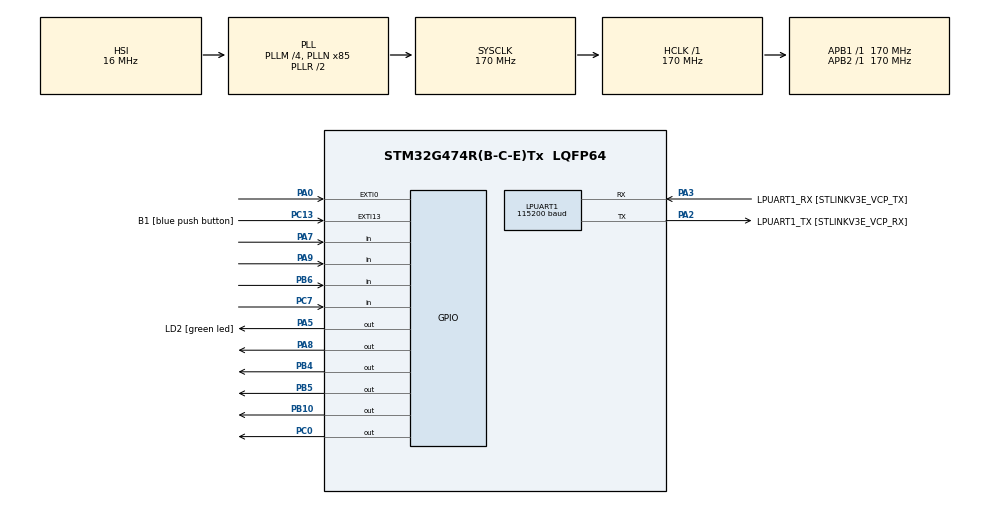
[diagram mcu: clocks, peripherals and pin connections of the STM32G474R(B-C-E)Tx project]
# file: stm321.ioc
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LPUART1.BaudRate=115200
LPUART1.WordLength=UART_WORDLENGTH_8B
Mcu.Family=STM32G4
Mcu.Name=STM32G474R(B-C-E)Tx
Mcu.Package=LQFP64
NVIC.EXTI0_IRQn=true\:0\:0\:false\:false\:true\:true\:true\:true
NVIC.EXTI15_10_IRQn=true\:0\:0\:false\:false\:true\:true\:true\:true
NVIC.PriorityGroup=NVIC_PRIORITYGROUP_4
PA0.GPIO_PuPd=GPIO_NOPULL
PA0.Signal=GPXTI0
PA13.GPIO_Label=T_SWDIO
PA13.Mode=Serial_Wire
PA13.Signal=SYS_JTMS-SWDIO
PA14.GPIO_Label=T_SWCLK
PA14.Mode=Serial_Wire
PA14.Signal=SYS_JTCK-SWCLK
PA2.GPIO_Label=LPUART1_TX [STLINKV3E_VCP_RX]
PA2.Mode=Asynchronous
PA2.Signal=LPUART1_TX
PA3.GPIO_Label=LPUART1_RX [STLINKV3E_VCP_TX]
PA3.Mode=Asynchronous
PA3.Signal=LPUART1_RX
PA5.GPIO_Label=LD2 [green led]
PA5.GPIO_ModeDefaultOutputPP=GPIO_MODE_OUTPUT_PP
PA5.GPIO_PuPd=GPIO_NOPULL
PA5.PinState=GPIO_PIN_RESET
PA5.Signal=GPIO_Output
PA7.GPIO_Mode=GPIO_MODE_INPUT
PA7.GPIO_PuPd=GPIO_PULLUP
PA7.Signal=GPIO_Input
PA8.GPIO_ModeDefaultOutputPP=GPIO_MODE_OUTPUT_OD
PA8.GPIO_PuPd=GPIO_NOPULL
PA8.PinState=GPIO_PIN_SET
PA8.Signal=GPIO_Output
PA9.GPIO_Mode=GPIO_MODE_INPUT
PA9.GPIO_PuPd=GPIO_PULLUP
PA9.Signal=GPIO_Input
PB10.GPIO_ModeDefaultOutputPP=GPIO_MODE_OUTPUT_OD
PB10.GPIO_PuPd=GPIO_NOPULL
PB10.PinState=GPIO_PIN_SET
PB10.Signal=GPIO_Output
PB3.GPIO_Label=T_SWO
PB3.Signal=SYS_JTDO-SWO
PB4.GPIO_ModeDefaultOutputPP=GPIO_MODE_OUTPUT_OD
PB4.GPIO_PuPd=GPIO_NOPULL
PB4.PinState=GPIO_PIN_SET
PB4.Signal=GPIO_Output
PB5.GPIO_ModeDefaultOutputPP=GPIO_MODE_OUTPUT_OD
PB5.GPIO_PuPd=GPIO_NOPULL
PB5.PinState=GPIO_PIN_SET
PB5.Signal=GPIO_Output
PB6.GPIO_Mode=GPIO_MODE_INPUT
PB6.GPIO_PuPd=GPIO_PULLUP
PB6.Signal=GPIO_Input
PC0.GPIO_ModeDefaultOutputPP=GPIO_MODE_OUTPUT_OD
PC0.GPIO_PuPd=GPIO_NOPULL
PC0.Signal=GPIO_Output
PC13.GPIO_Label=B1 [blue push button]
PC13.Signal=GPXTI13
PC14-OSC32_IN.Mode=LSE-External-Oscillator
PC14-OSC32_IN.Signal=RCC_OSC32_IN
PC15-OSC32_OUT.Mode=LSE-External-Oscillator
PC15-OSC32_OUT.Signal=RCC_OSC32_OUT
PC7.GPIO_Mode=GPIO_MODE_INPUT
PC7.GPIO_PuPd=GPIO_PULLUP
PC7.Signal=GPIO_Input
PF0-OSC_IN.Mode=HSE-External-Oscillator
PF0-OSC_IN.Signal=RCC_OSC_IN
PF1-OSC_OUT.Mode=HSE-External-Oscillator
PF1-OSC_OUT.Signal=RCC_OSC_OUT
ProjectManager.HeapSize=0x200
ProjectManager.StackSize=0x400
ProjectManager.TargetToolchain=STM32CubeIDE
RCC.ADC12Freq_Value=170000000
RCC.ADC345Freq_Value=170000000
RCC.AHBFreq_Value=170000000
RCC.APB1Freq_Value=170000000
RCC.APB1TimFreq_Value=170000000
RCC.APB2Freq_Value=170000000
RCC.APB2TimFreq_Value=170000000
RCC.CortexFreq_Value=170000000
RCC.EXTERNAL_CLOCK_VALUE=12288000
RCC.HCLKFreq_Value=170000000
RCC.HSE_VALUE=24000000
RCC.HSI48_VALUE=48000000
RCC.HSI_VALUE=16000000
RCC.PLLM=RCC_PLLM_DIV4
RCC.PLLN=85
RCC.RTCClockSelection=RCC_RTCCLKSOURCE_LSE
RCC.SYSCLKFreq_VALUE=170000000
RCC.SYSCLKSource=RCC_SYSCLKSOURCE_PLLCLK
RCC.USBFreq_Value=170000000
RCC.VCOOutputFreq_Value=340000000
VP_SYS_VS_DBSignals.Mode=DisableDeadBatterySignals
board=NUCLEO-G474RE

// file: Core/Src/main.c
/* USER CODE BEGIN Header */
/**
 ******************************************************************************
 * @file           : main.c
 * @brief          : Main program body
 ******************************************************************************
 * @attention
 *
 * Copyright (c) 2023 STMicroelectronics.
 * All rights reserved.
 *
 * This software is licensed under terms that can be found in the LICENSE file
 * in the root directory of this software component.
 * If no LICENSE file comes with this software, it is provided AS-IS.
 *
 ******************************************************************************
 */
/* USER CODE END Header */
#include "main.h"

UART_HandleTypeDef hlpuart1;

/* USER CODE BEGIN PV */
struct _ButMtx_Struct {
	GPIO_TypeDef *Port;
	uint16_t Pin;
};

struct _ButMtx_Struct BMX_L[4] = { { GPIOA, GPIO_PIN_9 }, { GPIOC, GPIO_PIN_7 },
		{ GPIOB, GPIO_PIN_6 }, { GPIOA, GPIO_PIN_7 } };

struct _ButMtx_Struct BMX_R[3] = { { GPIOB, GPIO_PIN_5 }, { GPIOB, GPIO_PIN_4 },
		{ GPIOB, GPIO_PIN_10 }};

uint16_t ButtonState = 0;
int x = 0;
int starter[] = {6,5,3,4,0,5,0,0,0,6,6};
int compare[11];
int position = 0;
int state = 0;
int ch = 88;
int iii = 0;
uint16_t check = 0;
/* USER CODE END PV */

void SystemClock_Config(void);
static void MX_GPIO_Init(void);
static void MX_LPUART1_UART_Init(void);
/* USER CODE BEGIN PFP */
void ButtonMatrixRead();
void Checkkeypad();

/* USER CODE END PFP */

int main(void)
{

  /* MCU Configuration--------------------------------------------------------*/

  /* Reset of all peripherals, Initializes the Flash interface and the Systick. */
  HAL_Init();

  /* Configure the system clock */
  SystemClock_Config();

  /* Initialize all configured peripherals */
  MX_GPIO_Init();
  MX_LPUART1_UART_Init();
  /* USER CODE BEGIN 2 */
	//HAL_GPIO_WritePin(GPIOA, GPIO_PIN_5, GPIO_PIN_SET);
  /* USER CODE END 2 */

  /* Infinite loop */
	while (1) {

    /* USER CODE BEGIN 3 */
		static uint32_t BTMX_TimeStamp = 0;
		if (HAL_GetTick() > BTMX_TimeStamp)

		{
			BTMX_TimeStamp = HAL_GetTick() + 25; //next scan in 25 ms
			ButtonMatrixRead();
			Checkkeypad();
		}
	}
  /* USER CODE END 3 */
}

void SystemClock_Config(void)
{
  RCC_OscInitTypeDef RCC_OscInitStruct = {0};
  RCC_ClkInitTypeDef RCC_ClkInitStruct = {0};

  /** Configure the main internal regulator output voltage
  */
  HAL_PWREx_ControlVoltageScaling(PWR_REGULATOR_VOLTAGE_SCALE1_BOOST);

  /** Initializes the RCC Oscillators according to the specified parameters
  * in the RCC_OscInitTypeDef structure.
  */
  RCC_OscInitStruct.OscillatorType = RCC_OSCILLATORTYPE_HSI;
  RCC_OscInitStruct.HSIState = RCC_HSI_ON;
  RCC_OscInitStruct.HSICalibrationValue = RCC_HSICALIBRATION_DEFAULT;
  RCC_OscInitStruct.PLL.PLLState = RCC_PLL_ON;
  RCC_OscInitStruct.PLL.PLLSource = RCC_PLLSOURCE_HSI;
  RCC_OscInitStruct.PLL.PLLM = RCC_PLLM_DIV4;
  RCC_OscInitStruct.PLL.PLLN = 85;
  RCC_OscInitStruct.PLL.PLLP = RCC_PLLP_DIV2;
  RCC_OscInitStruct.PLL.PLLQ = RCC_PLLQ_DIV2;
  RCC_OscInitStruct.PLL.PLLR = RCC_PLLR_DIV2;
  if (HAL_RCC_OscConfig(&RCC_OscInitStruct) != HAL_OK)
  {
    Error_Handler();
  }

  /** Initializes the CPU, AHB and APB buses clocks
  */
  RCC_ClkInitStruct.ClockType = RCC_CLOCKTYPE_HCLK|RCC_CLOCKTYPE_SYSCLK
                              |RCC_CLOCKTYPE_PCLK1|RCC_CLOCKTYPE_PCLK2;
  RCC_ClkInitStruct.SYSCLKSource = RCC_SYSCLKSOURCE_PLLCLK;
  RCC_ClkInitStruct.AHBCLKDivider = RCC_SYSCLK_DIV1;
  RCC_ClkInitStruct.APB1CLKDivider = RCC_HCLK_DIV1;
  RCC_ClkInitStruct.APB2CLKDivider = RCC_HCLK_DIV1;

  if (HAL_RCC_ClockConfig(&RCC_ClkInitStruct, FLASH_LATENCY_4) != HAL_OK)
  {
    Error_Handler();
  }
}

static void MX_LPUART1_UART_Init(void)
{

  hlpuart1.Instance = LPUART1;
  hlpuart1.Init.BaudRate = 115200;
  hlpuart1.Init.WordLength = UART_WORDLENGTH_8B;
  hlpuart1.Init.StopBits = UART_STOPBITS_1;
  hlpuart1.Init.Parity = UART_PARITY_NONE;
  hlpuart1.Init.Mode = UART_MODE_TX_RX;
  hlpuart1.Init.HwFlowCtl = UART_HWCONTROL_NONE;
  hlpuart1.Init.OneBitSampling = UART_ONE_BIT_SAMPLE_DISABLE;
  hlpuart1.Init.ClockPrescaler = UART_PRESCALER_DIV1;
  hlpuart1.AdvancedInit.AdvFeatureInit = UART_ADVFEATURE_NO_INIT;
  if (HAL_UART_Init(&hlpuart1) != HAL_OK)
  {
    Error_Handler();
  }
  if (HAL_UARTEx_SetTxFifoThreshold(&hlpuart1, UART_TXFIFO_THRESHOLD_1_8) != HAL_OK)
  {
    Error_Handler();
  }
  if (HAL_UARTEx_SetRxFifoThreshold(&hlpuart1, UART_RXFIFO_THRESHOLD_1_8) != HAL_OK)
  {
    Error_Handler();
  }
  if (HAL_UARTEx_DisableFifoMode(&hlpuart1) != HAL_OK)
  {
    Error_Handler();
  }

}

static void MX_GPIO_Init(void)
{
  GPIO_InitTypeDef GPIO_InitStruct = {0};

  /* GPIO Ports Clock Enable */
  __HAL_RCC_GPIOC_CLK_ENABLE();
  __HAL_RCC_GPIOF_CLK_ENABLE();
  __HAL_RCC_GPIOA_CLK_ENABLE();
  __HAL_RCC_GPIOB_CLK_ENABLE();

  /*Configure GPIO pin Output Level */
  HAL_GPIO_WritePin(GPIOC, GPIO_PIN_0, GPIO_PIN_RESET);

  /*Configure GPIO pin Output Level */
  HAL_GPIO_WritePin(LD2_GPIO_Port, LD2_Pin, GPIO_PIN_RESET);

  /*Configure GPIO pin Output Level */
  HAL_GPIO_WritePin(GPIOB, GPIO_PIN_10|GPIO_PIN_4|GPIO_PIN_5, GPIO_PIN_SET);

  /*Configure GPIO pin Output Level */
  HAL_GPIO_WritePin(GPIOA, GPIO_PIN_8, GPIO_PIN_SET);

  /*Configure GPIO pin : B1_Pin */
  GPIO_InitStruct.Pin = B1_Pin;
  GPIO_InitStruct.Mode = GPIO_MODE_IT_RISING;
  GPIO_InitStruct.Pull = GPIO_NOPULL;
  HAL_GPIO_Init(B1_GPIO_Port, &GPIO_InitStruct);

  /*Configure GPIO pin : PC0 */
  GPIO_InitStruct.Pin = GPIO_PIN_0;
  GPIO_InitStruct.Mode = GPIO_MODE_OUTPUT_OD;
  GPIO_InitStruct.Pull = GPIO_NOPULL;
  GPIO_InitStruct.Speed = GPIO_SPEED_FREQ_LOW;
  HAL_GPIO_Init(GPIOC, &GPIO_InitStruct);

  /*Configure GPIO pin : PA0 */
  GPIO_InitStruct.Pin = GPIO_PIN_0;
  GPIO_InitStruct.Mode = GPIO_MODE_IT_RISING;
  GPIO_InitStruct.Pull = GPIO_NOPULL;
  HAL_GPIO_Init(GPIOA, &GPIO_InitStruct);

  /*Configure GPIO pin : LD2_Pin */
  GPIO_InitStruct.Pin = LD2_Pin;
  GPIO_InitStruct.Mode = GPIO_MODE_OUTPUT_PP;
  GPIO_InitStruct.Pull = GPIO_NOPULL;
  GPIO_InitStruct.Speed = GPIO_SPEED_FREQ_LOW;
  HAL_GPIO_Init(LD2_GPIO_Port, &GPIO_InitStruct);

  /*Configure GPIO pins : PA7 PA9 */
  GPIO_InitStruct.Pin = GPIO_PIN_7|GPIO_PIN_9;
  GPIO_InitStruct.Mode = GPIO_MODE_INPUT;
  GPIO_InitStruct.Pull = GPIO_PULLUP;
  HAL_GPIO_Init(GPIOA, &GPIO_InitStruct);

  /*Configure GPIO pins : PB10 PB4 PB5 */
  GPIO_InitStruct.Pin = GPIO_PIN_10|GPIO_PIN_4|GPIO_PIN_5;
  GPIO_InitStruct.Mode = GPIO_MODE_OUTPUT_OD;
  GPIO_InitStruct.Pull = GPIO_NOPULL;
  GPIO_InitStruct.Speed = GPIO_SPEED_FREQ_LOW;
  HAL_GPIO_Init(GPIOB, &GPIO_InitStruct);

  /*Configure GPIO pin : PC7 */
  GPIO_InitStruct.Pin = GPIO_PIN_7;
  GPIO_InitStruct.Mode = GPIO_MODE_INPUT;
  GPIO_InitStruct.Pull = GPIO_PULLUP;
  HAL_GPIO_Init(GPIOC, &GPIO_InitStruct);

  /*Configure GPIO pin : PA8 */
  GPIO_InitStruct.Pin = GPIO_PIN_8;
  GPIO_InitStruct.Mode = GPIO_MODE_OUTPUT_OD;
  GPIO_InitStruct.Pull = GPIO_NOPULL;
  GPIO_InitStruct.Speed = GPIO_SPEED_FREQ_LOW;
  HAL_GPIO_Init(GPIOA, &GPIO_InitStruct);

  /*Configure GPIO pin : PB6 */
  GPIO_InitStruct.Pin = GPIO_PIN_6;
  GPIO_InitStruct.Mode = GPIO_MODE_INPUT;
  GPIO_InitStruct.Pull = GPIO_PULLUP;
  HAL_GPIO_Init(GPIOB, &GPIO_InitStruct);

  /* EXTI interrupt init*/
  HAL_NVIC_SetPriority(EXTI0_IRQn, 0, 0);
  HAL_NVIC_EnableIRQ(EXTI0_IRQn);

  HAL_NVIC_SetPriority(EXTI15_10_IRQn, 0, 0);
  HAL_NVIC_EnableIRQ(EXTI15_10_IRQn);

}

/* USER CODE BEGIN 4 */
void HAL_GPIO_EXTI_Callback(uint16_t GPIO_Pin){
	if (GPIO_Pin == GPIO_PIN_0){
		HAL_GPIO_WritePin(GPIOA, GPIO_PIN_5,GPIO_PIN_RESET);
		memset (compare,0,sizeof(compare));
		position = 0;
	}
}
void ButtonMatrixRead() {
	static uint8_t X = 0;
	for (int i = 0; i < 4; i++) {
		if (HAL_GPIO_ReadPin(BMX_L[i].Port, BMX_L[i].Pin) == GPIO_PIN_RESET) { //ปุ่มถู�?�?ด
			ButtonState |= 1 << (i + (X * 4));
		} else {
			ButtonState &= ~(1 << (i + (X * 4)));
		}
	}
//set currentL to Hi-z (open drain)
	HAL_GPIO_WritePin(BMX_R[X].Port, BMX_R[X].Pin, GPIO_PIN_SET);
//set nextL to low
	uint8_t nextX = (X + 1) % 4;
	HAL_GPIO_WritePin(BMX_R[nextX].Port, BMX_R[nextX].Pin, GPIO_PIN_RESET);
	X = nextX;
}
void Checkkeypad(){

		if (ButtonState == 1)
		{
		x = 7;

		}
		else if (ButtonState == 16)
		{
			x = 8;
		}
		else if (ButtonState == 256)
		{
			x = 9;
		}
		else if (ButtonState == 2)
		{
			x = 4;

		}
		else if (ButtonState == 32)
		{
			x = 5;

		}
		else if (ButtonState == 512)
		{
			x = 6;

		}
		else if (ButtonState == 4)
		{
			x = 1;
		}
		else if (ButtonState == 64)
		{
			x = 2;
		}
		else if (ButtonState == 1024)
		{
			x = 3;

		}
		else if (ButtonState == 8)
		{
			x = 0;
		}
		if (ButtonState != 0){
			state = 1 ;
		}
		if (state == 1){
			if (ButtonState == 0){
				compare[position] = x;
				position ++ ;
				state = 0;
				}
			}
		ch = memcmp(compare,starter,sizeof(compare));
		if((ch == 0)&& ButtonState == 2048)
		{
			iii = 123456;
			HAL_GPIO_WritePin(GPIOA, GPIO_PIN_5,GPIO_PIN_SET);
			check = 1000;
		}
		if(ch != 0)
		{
			iii = 9999999;
			HAL_GPIO_WritePin(GPIOA, GPIO_PIN_5,GPIO_PIN_RESET);
			check = 1000;

		}
//		if(memcmp(compare,starter,sizeof(compare) != 0 )) {
//				iii = 123456;
//				HAL_GPIO_WritePin(GPIOA, GPIO_PIN_5,GPIO_PIN_SET);
//				check = 1000;
//			}
//		if(memcmp(compare,starter,sizeof(compare) == 0 )) {
//			iii = 10;
//			HAL_GPIO_WritePin(GPIOA, GPIO_PIN_5,GPIO_PIN_SET);
//			check = 1000;
//		}

		}

/* USER CODE END 4 */

void Error_Handler(void)
{
	__disable_irq();
	while (1) {
	}
}
